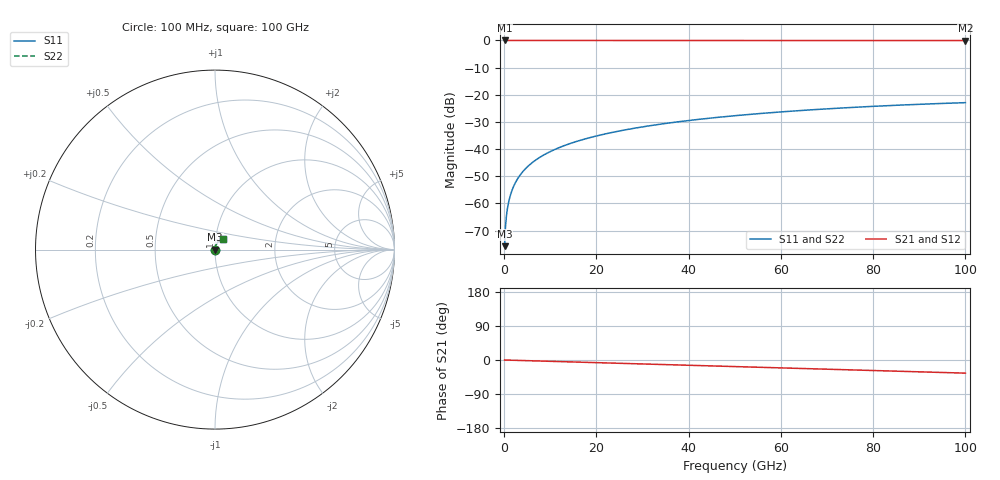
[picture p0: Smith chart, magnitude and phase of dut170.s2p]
! Touchstone file exported from HFSS 2026.1.0
!  File:  C:/ffzhzh/LocalFiles/Ansys_Project_Files/temp_train_TSV_170_1783506931_9504.aedt
!  Generated:  06:36:46 PM Jul  8, 2026
!  Design:  TSV
!  Project:  temp_train_TSV_170_1783506931_9504
! Variables:
!  h_bsmrdl = 2um
!  h_ox = 20um
!  h_rdl = 5um
!  h_sub = 65.65um
!  h_tmrdl = 5um
!  h_tsv = 65.65um
!  h_via = 3um
!  l_bsmrdl = 300um
!  l_sub = 420.1um
!  l_tmrdl = 200um
!  m_sub = 200um
!  pitch = 47.37um
!  r_tsv = 10.05um
!  s_tmrdl = 10um
!  w_bsmrdl = 18um
!  w_sub = 500um
!  w_tmrdl = 12um
!  x_tsv_center1 = 206um
!  x_tsv_center2 = 524um
!  x_tsv_center3 = 736um
!  x_tsv_center4 = 1054um
!  x_tsv_center5 = 1266um
!  x_tsv_center6 = 1584um
# GHz S MA R 50.000000
! Terminal data exported
! Port[1] = TSV1_1_T1
! Port[2] = TSV1_1_T2
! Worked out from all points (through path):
!   1000 points, 100 MHz to 100 GHz, reference 50 ohm
!   highest |S21| = 0.00 dB at 100 MHz (marker M1); lowest = 0.0 dB at 100 GHz (marker M2)
!   group delay of S21, straight-line fit = 962 fs
!   lowest |S11| = -75.7 dB at 100 MHz (marker M3), VSWR 1.00, Z = 50 + j0.0123 ohm
!   |S11| at or under -10 dB: start of sweep to end of sweep
!   |S22| runs from -75.7 to -22.9 dB; largest |S21 - S12| = 3e-15
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0.1  0.0001637 48.6  0.9999 -0.0  0.9999 -0.0  0.0001637 48.6
! Gamma 0 0 0 0
! Port Impedance 50 0 50 0
0.4  0.0004906 71.8  0.9998 -0.1  0.9998 -0.1  0.0004906 71.8
0.7  0.0007963 75.1  0.9998 -0.3  0.9998 -0.3  0.0007963 75.1
0.8  0.0008936 75.8  0.9998 -0.3  0.9998 -0.3  0.0008936 75.8
1  0.001085 76.9  0.9998 -0.4  0.9998 -0.4  0.001085 76.9
1.3  0.001367 78.1  0.9997 -0.5  0.9997 -0.5  0.001367 78.1
1.8  0.001832 79.4  0.9997 -0.6  0.9997 -0.6  0.001832 79.4
2.4  0.002381 80.3  0.9996 -0.8  0.9996 -0.8  0.002381 80.3
3.1  0.003012 80.9  0.9996 -1.1  0.9996 -1.1  0.003012 80.9
3.9  0.003722 81.3  0.9995 -1.4  0.9995 -1.4  0.003722 81.3
4.9  0.004602 81.7  0.9995 -1.7  0.9995 -1.7  0.004602 81.7
6.1  0.005649 81.9  0.9994 -2.1  0.9994 -2.1  0.005649 81.9
8.9  0.008074 81.8  0.9993 -3.1  0.9993 -3.1  0.008074 81.8
12.4  0.01107 81.2  0.9991 -4.3  0.9991 -4.3  0.01107 81.2
16.8  0.01478 80.3  0.9989 -5.8  0.9989 -5.8  0.01478 80.3
24.2  0.02094 78.3  0.9986 -8.4  0.9986 -8.4  0.02094 78.3
33.4  0.02841 75.6  0.9982 -11.6  0.9982 -11.6  0.02841 75.6
41.2  0.03455 73.2  0.9978 -14.3  0.9978 -14.3  0.03455 73.2
50.1  0.04129 70.3  0.9974 -17.4  0.9974 -17.4  0.04129 70.3
66.7  0.05297 64.8  0.9966 -23.1  0.9966 -23.1  0.05297 64.9
83.4  0.06327 59.3  0.9957 -28.9  0.9957 -28.9  0.06327 59.3
100  0.07167 53.7  0.9949 -34.7  0.9949 -34.7  0.07167 53.7
